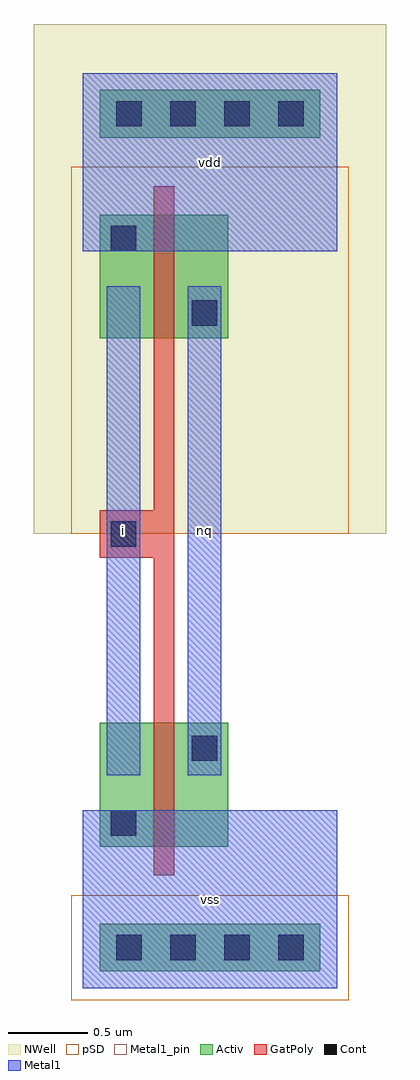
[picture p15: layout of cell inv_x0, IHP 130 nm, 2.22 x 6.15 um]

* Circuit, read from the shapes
.subckt inv_x0 i nq vdd vss
XM1 nq i vss vss sg13_lv_nmos w=0.78u l=0.13u
XM2 nq i vdd vdd sg13_lv_pmos w=0.78u l=0.13u
.ends

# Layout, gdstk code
import gdstk
lib = gdstk.Library(unit=1e-6, precision=1e-09)
def R(c, l, rs):  # rectangles x0, y0, x1, y1
    for r in rs: c.add(gdstk.rectangle(r[:2], r[2:], *l))
def P(c, l, *ps):  # polygons
    for p in ps: c.add(gdstk.Polygon(p, *l))
Activ = (1, 0)
GatPoly = (5, 0)
Cont = (6, 0)
Metal1 = (8, 0)
Metal1_pin = (8, 2)
pSD = (14, 0)
NWell = (31, 0)

inv_x0 = lib.new_cell('inv_x0')
P(inv_x0, Activ, [(0.445,0.89),(0.445,1.67),(0.575,1.67),(0.575,0.89),(0.445,0.89)],
  [(0.14,0.105),(0.14,0.405),(1.46,0.405),(1.46,0.105),(0.14,0.105)],
  [(0.105,0.89),(0.105,1.67),(0.405,1.67),(0.405,0.89),(0.105,0.89)],
  [(0.105,0.105),(0.105,0.405),(1.495,0.405),(1.495,0.105),(0.105,0.105)],
  [(0.105,0.89),(0.105,1.19),(0.405,1.19),(0.405,0.89),(0.105,0.89)],
  [(0.105,0.89),(0.105,1.67),(0.375,1.67),(0.375,0.89),(0.105,0.89)],
  [(0.215,0.89),(0.215,1.67),(0.445,1.67),(0.445,0.89),(0.215,0.89)],
  [(0.105,4.57),(0.105,4.87),(0.405,4.87),(0.405,4.57),(0.105,4.57)],
  [(0.105,4.09),(0.105,4.87),(0.375,4.87),(0.375,4.09),(0.105,4.09)],
  [(0.14,5.355),(0.14,5.655),(1.46,5.655),(1.46,5.355),(0.14,5.355)],
  [(0.105,5.355),(0.105,5.655),(1.495,5.655),(1.495,5.355),(0.105,5.355)],
  [(0.445,4.09),(0.445,4.87),(0.575,4.87),(0.575,4.09),(0.445,4.09)],
  [(0.105,4.09),(0.105,4.87),(0.405,4.87),(0.405,4.09),(0.105,4.09)],
  [(0.215,4.09),(0.215,4.87),(0.445,4.87),(0.445,4.09),(0.215,4.09)],
  [(0.615,4.09),(0.615,4.87),(0.915,4.87),(0.915,4.09),(0.615,4.09)],
  [(0.645,0.89),(0.645,1.67),(0.915,1.67),(0.915,0.89),(0.645,0.89)],
  [(0.575,0.89),(0.575,1.67),(0.805,1.67),(0.805,0.89),(0.575,0.89)],
  [(0.615,0.89),(0.615,1.67),(0.915,1.67),(0.915,0.89),(0.615,0.89)],
  [(0.615,4.1),(0.615,4.4),(0.915,4.4),(0.915,4.1),(0.615,4.1)],
  [(0.645,4.09),(0.645,4.87),(0.915,4.87),(0.915,4.09),(0.645,4.09)],
  [(0.575,4.09),(0.575,4.87),(0.805,4.87),(0.805,4.09),(0.575,4.09)],
  [(0.615,1.36),(0.615,1.66),(0.915,1.66),(0.915,1.36),(0.615,1.36)])
P(inv_x0, GatPoly, [(0.445,0.71),(0.445,3.91),(0.575,3.91),(0.575,0.71),(0.445,0.71)],
  [(0.255,2.71),(0.255,3.01),(0.51,3.01),(0.51,2.71),(0.255,2.71)],
  [(0.445,0.71),(0.445,1.85),(0.575,1.85),(0.575,0.71),(0.445,0.71)],
  [(0.105,2.71),(0.105,3.01),(0.405,3.01),(0.405,2.71),(0.105,2.71)],
  [(0.445,3.91),(0.445,5.05),(0.575,5.05),(0.575,3.91),(0.445,3.91)])
P(inv_x0, Cont, [(0.175,0.96),(0.175,1.12),(0.335,1.12),(0.335,0.96),(0.175,0.96)],
  [(0.21,0.175),(0.21,0.335),(0.37,0.335),(0.37,0.175),(0.21,0.175)],
  [(0.55,0.175),(0.55,0.335),(0.71,0.335),(0.71,0.175),(0.55,0.175)],
  [(0.89,0.175),(0.89,0.335),(1.05,0.335),(1.05,0.175),(0.89,0.175)],
  [(1.23,0.175),(1.23,0.335),(1.39,0.335),(1.39,0.175),(1.23,0.175)],
  [(1.23,5.425),(1.23,5.585),(1.39,5.585),(1.39,5.425),(1.23,5.425)],
  [(0.175,4.64),(0.175,4.8),(0.335,4.8),(0.335,4.64),(0.175,4.64)],
  [(0.21,5.425),(0.21,5.585),(0.37,5.585),(0.37,5.425),(0.21,5.425)],
  [(0.55,5.425),(0.55,5.585),(0.71,5.585),(0.71,5.425),(0.55,5.425)],
  [(0.89,5.425),(0.89,5.585),(1.05,5.585),(1.05,5.425),(0.89,5.425)],
  [(0.685,1.43),(0.685,1.59),(0.845,1.59),(0.845,1.43),(0.685,1.43)],
  [(0.685,4.17),(0.685,4.33),(0.845,4.33),(0.845,4.17),(0.685,4.17)],
  [(0.175,2.78),(0.175,2.94),(0.335,2.94),(0.335,2.78),(0.175,2.78)])
R(inv_x0, Metal1, [(0,0,1.6,1.12), (0.15,1.34,0.36,4.42), (0.66,1.34,0.87,4.42), (0,4.64,1.6,5.76)])
P(inv_x0, Metal1, [(0.21,0.095),(0.21,0.415),(1.39,0.415),(1.39,0.095),(0.21,0.095)],
  [(0.095,0.96),(0.095,1.12),(0.415,1.12),(0.415,0.96),(0.095,0.96)],
  [(0,0),(0,1.12),(1.6,1.12),(1.6,0),(0,0)],
  [(0.21,5.345),(0.21,5.665),(1.39,5.665),(1.39,5.345),(0.21,5.345)],
  [(0.095,4.64),(0.095,4.8),(0.415,4.8),(0.415,4.64),(0.095,4.64)],
  [(0,4.64),(0,5.76),(1.6,5.76),(1.6,4.64),(0,4.64)],
  [(0.66,1.34),(0.66,4.42),(0.87,4.42),(0.87,1.34),(0.66,1.34)],
  [(0.685,1.34),(0.685,1.67),(0.845,1.67),(0.845,1.34),(0.685,1.34)],
  [(0.685,1.35),(0.685,1.67),(0.845,1.67),(0.845,1.35),(0.685,1.35)],
  [(0.685,4.09),(0.685,4.41),(0.845,4.41),(0.845,4.09),(0.685,4.09)],
  [(0.685,4.09),(0.685,4.42),(0.845,4.42),(0.845,4.09),(0.685,4.09)],
  [(0.15,1.34),(0.15,4.42),(0.36,4.42),(0.36,1.34),(0.15,1.34)],
  [(0.175,2.7),(0.175,3.02),(0.335,3.02),(0.335,2.7),(0.175,2.7)])
R(inv_x0, Metal1_pin, [(0,0,1.6,1.12), (0,0,1.6,1.12), (0.15,1.34,0.36,4.42), (0.15,1.34,0.36,4.42), (0.66,1.34,0.87,4.42), (0.66,1.34,0.87,4.42), (0,4.64,1.6,5.76), (0,4.64,1.6,5.76)])
P(inv_x0, pSD, [(-0.075,-0.075),(-0.075,0.585),(1.675,0.585),(1.675,-0.075),(-0.075,-0.075)],
  [(0.035,3.91),(0.035,5.05),(0.985,5.05),(0.985,3.91),(0.035,3.91)],
  [(-0.075,4.27),(-0.075,5.17),(0.585,5.17),(0.585,4.27),(-0.075,4.27)],
  [(0.435,3.79),(0.435,5.17),(1.095,5.17),(1.095,3.79),(0.435,3.79)],
  [(-0.075,3.79),(-0.075,5.17),(0.555,5.17),(0.555,3.79),(-0.075,3.79)],
  [(0.145,3.79),(0.145,5.17),(0.875,5.17),(0.875,3.79),(0.145,3.79)],
  [(-0.075,2.86),(-0.075,5.17),(1.675,5.17),(1.675,2.86),(-0.075,2.86)],
  [(0.435,3.8),(0.435,4.7),(1.095,4.7),(1.095,3.8),(0.435,3.8)],
  [(-0.075,3.79),(-0.075,5.17),(0.585,5.17),(0.585,3.79),(-0.075,3.79)],
  [(-0.04,-0.075),(-0.04,0.585),(1.64,0.585),(1.64,-0.075),(-0.04,-0.075)],
  [(0.465,3.79),(0.465,5.17),(1.095,5.17),(1.095,3.79),(0.465,3.79)])
P(inv_x0, NWell, [(0.335,3.78),(0.335,5.18),(1.225,5.18),(1.225,3.78),(0.335,3.78)],
  [(-0.17,5.045),(-0.17,5.965),(1.77,5.965),(1.77,5.045),(-0.17,5.045)],
  [(0.305,3.78),(0.305,5.18),(1.225,5.18),(1.225,3.78),(0.305,3.78)],
  [(-0.205,3.78),(-0.205,5.18),(0.715,5.18),(0.715,3.78),(-0.205,3.78)],
  [(-0.31,2.86),(-0.31,6.07),(1.91,6.07),(1.91,2.86),(-0.31,2.86)],
  [(0.305,3.79),(0.305,4.71),(1.225,4.71),(1.225,3.79),(0.305,3.79)],
  [(-0.205,3.78),(-0.205,5.18),(0.685,5.18),(0.685,3.78),(-0.205,3.78)],
  [(-0.205,5.045),(-0.205,5.965),(1.805,5.965),(1.805,5.045),(-0.205,5.045)],
  [(-0.095,3.78),(-0.095,5.18),(1.115,5.18),(1.115,3.78),(-0.095,3.78)],
  [(-0.205,4.26),(-0.205,5.18),(0.715,5.18),(0.715,4.26),(-0.205,4.26)])
inv_x0.add(gdstk.Label('vss', (0.8,0.56), layer=8, texttype=25))
inv_x0.add(gdstk.Label('vdd', (0.8,5.2), layer=8, texttype=25))
inv_x0.add(gdstk.Label('nq', (0.765,2.88), layer=8, texttype=25))
inv_x0.add(gdstk.Label('i', (0.255,2.88), layer=8, texttype=25))

lib.write_gds('inv_x0.gds')
